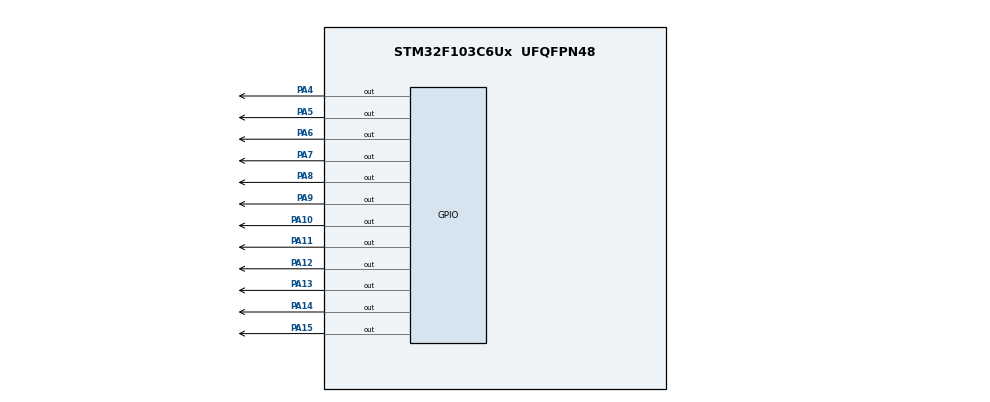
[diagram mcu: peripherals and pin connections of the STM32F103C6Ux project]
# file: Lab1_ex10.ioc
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Mcu.Family=STM32F1
Mcu.Name=STM32F103C6Ux
Mcu.Package=UFQFPN48
NVIC.PriorityGroup=NVIC_PRIORITYGROUP_4
PA10.Signal=GPIO_Output
PA11.Signal=GPIO_Output
PA12.Signal=GPIO_Output
PA13.Signal=GPIO_Output
PA14.Signal=GPIO_Output
PA15.Signal=GPIO_Output
PA4.Signal=GPIO_Output
PA5.Signal=GPIO_Output
PA6.Signal=GPIO_Output
PA7.Signal=GPIO_Output
PA8.Signal=GPIO_Output
PA9.Signal=GPIO_Output
ProjectManager.HeapSize=0x200
ProjectManager.StackSize=0x400
ProjectManager.TargetToolchain=STM32CubeIDE
RCC.APB1Freq_Value=8000000
RCC.APB2Freq_Value=8000000
VP_SYS_VS_ND.Mode=No_Debug
board=custom

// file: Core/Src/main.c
/* USER CODE BEGIN Header */
/**
  ******************************************************************************
  * @file           : main.c
  * @brief          : Main program body
  ******************************************************************************
  * @attention
  *
  * <h2><center>&copy; Copyright (c) 2025 STMicroelectronics.
  * All rights reserved.</center></h2>
  *
  * This software component is licensed by ST under BSD 3-Clause license,
  * the "License"; You may not use this file except in compliance with the
  * License. You may obtain a copy of the License at:
  *                        opensource.org/licenses/BSD-3-Clause
  *
  ******************************************************************************
  */
/* USER CODE END Header */
#include "main.h"

void SystemClock_Config(void);
static void MX_GPIO_Init(void);

/* USER CODE BEGIN 0 */
int hour = 11, minute = 45, second = 0;
int prev_h = -1, prev_m = -1, prev_s = -1;
int a = 1;
uint16_t LED_Pins[] = {
    GPIO_PIN_4, GPIO_PIN_5, GPIO_PIN_6, GPIO_PIN_7,
    GPIO_PIN_8, GPIO_PIN_9, GPIO_PIN_10, GPIO_PIN_11,
    GPIO_PIN_12, GPIO_PIN_13, GPIO_PIN_14, GPIO_PIN_15
};

void clearAllClock()
{
  for (int i = 0; i < 12; i++)
  {
    HAL_GPIO_WritePin(GPIOA, LED_Pins[i], GPIO_PIN_SET);
  }
}

void setNumberOnClock(int num)
{
	if (num < 0 || num >= 12) return;
	HAL_GPIO_WritePin(GPIOA, LED_Pins[num], GPIO_PIN_RESET);
}

void clearNumberOnClock(int num)
{
  if (num < 0 || num >= 12) return;
  HAL_GPIO_WritePin(GPIOA, LED_Pins[num], GPIO_PIN_SET);
}

void Clock(int hour, int minute, int second)
{

  int h = hour % 12;
  int m = minute / 5;
  int s = second / 5;

  if (h != prev_h) clearNumberOnClock(prev_h);
  if (m != prev_m) clearNumberOnClock(prev_m);
  if (s != prev_s) clearNumberOnClock(prev_s);

  setNumberOnClock(h);
  setNumberOnClock(m);
  setNumberOnClock(s);

  prev_h = h;
  prev_m = m;
  prev_s = s;

  HAL_Delay(10);
}

/* USER CODE END 0 */

int main(void)
{

  /* MCU Configuration--------------------------------------------------------*/

  /* Reset of all peripherals, Initializes the Flash interface and the Systick. */
  HAL_Init();

  /* Configure the system clock */
  SystemClock_Config();

  /* Initialize all configured peripherals */
  MX_GPIO_Init();

  /* Infinite loop */
  while (1)
  {
	  if ( a == 1) {
		  clearAllClock();
		  a = 2;
	  }
	  Clock(hour, minute, second);

	  second++;
	  if (second >= 60) {
		  second = 0;
		  minute++;
	  }
	  if (minute >= 60) {
		  minute = 0;
		  hour++;
	  }
	  if (hour >= 24)   {
		  hour = 0;
	  }
  }
}

void SystemClock_Config(void)
{
  RCC_OscInitTypeDef RCC_OscInitStruct = {0};
  RCC_ClkInitTypeDef RCC_ClkInitStruct = {0};

  /** Initializes the RCC Oscillators according to the specified parameters
  * in the RCC_OscInitTypeDef structure.
  */
  RCC_OscInitStruct.OscillatorType = RCC_OSCILLATORTYPE_HSI;
  RCC_OscInitStruct.HSIState = RCC_HSI_ON;
  RCC_OscInitStruct.HSICalibrationValue = RCC_HSICALIBRATION_DEFAULT;
  RCC_OscInitStruct.PLL.PLLState = RCC_PLL_NONE;
  if (HAL_RCC_OscConfig(&RCC_OscInitStruct) != HAL_OK)
  {
    Error_Handler();
  }
  /** Initializes the CPU, AHB and APB buses clocks
  */
  RCC_ClkInitStruct.ClockType = RCC_CLOCKTYPE_HCLK|RCC_CLOCKTYPE_SYSCLK
                              |RCC_CLOCKTYPE_PCLK1|RCC_CLOCKTYPE_PCLK2;
  RCC_ClkInitStruct.SYSCLKSource = RCC_SYSCLKSOURCE_HSI;
  RCC_ClkInitStruct.AHBCLKDivider = RCC_SYSCLK_DIV1;
  RCC_ClkInitStruct.APB1CLKDivider = RCC_HCLK_DIV1;
  RCC_ClkInitStruct.APB2CLKDivider = RCC_HCLK_DIV1;

  if (HAL_RCC_ClockConfig(&RCC_ClkInitStruct, FLASH_LATENCY_0) != HAL_OK)
  {
    Error_Handler();
  }
}

static void MX_GPIO_Init(void)
{
  GPIO_InitTypeDef GPIO_InitStruct = {0};

  /* GPIO Ports Clock Enable */
  __HAL_RCC_GPIOA_CLK_ENABLE();

  /*Configure GPIO pin Output Level */
  HAL_GPIO_WritePin(GPIOA, GPIO_PIN_4|GPIO_PIN_5|GPIO_PIN_6|GPIO_PIN_7
                          |GPIO_PIN_8|GPIO_PIN_9|GPIO_PIN_10|GPIO_PIN_11
                          |GPIO_PIN_12|GPIO_PIN_13|GPIO_PIN_14|GPIO_PIN_15, GPIO_PIN_RESET);

  /*Configure GPIO pins : PA4 PA5 PA6 PA7
                           PA8 PA9 PA10 PA11
                           PA12 PA13 PA14 PA15 */
  GPIO_InitStruct.Pin = GPIO_PIN_4|GPIO_PIN_5|GPIO_PIN_6|GPIO_PIN_7
                          |GPIO_PIN_8|GPIO_PIN_9|GPIO_PIN_10|GPIO_PIN_11
                          |GPIO_PIN_12|GPIO_PIN_13|GPIO_PIN_14|GPIO_PIN_15;
  GPIO_InitStruct.Mode = GPIO_MODE_OUTPUT_PP;
  GPIO_InitStruct.Pull = GPIO_NOPULL;
  GPIO_InitStruct.Speed = GPIO_SPEED_FREQ_LOW;
  HAL_GPIO_Init(GPIOA, &GPIO_InitStruct);

}

void Error_Handler(void)
{
  __disable_irq();
  while (1)
  {
  }
}

/************************ (C) COPYRIGHT STMicroelectronics *****END OF FILE****/
